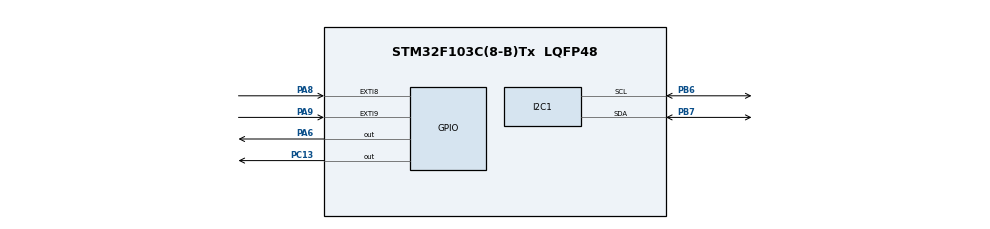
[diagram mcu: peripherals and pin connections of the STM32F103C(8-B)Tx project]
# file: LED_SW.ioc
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Mcu.Family=STM32F1
Mcu.Name=STM32F103C(8-B)Tx
Mcu.Package=LQFP48
NVIC.EXTI9_5_IRQn=true\:0\:0\:false\:false\:true\:true\:true\:true
NVIC.PriorityGroup=NVIC_PRIORITYGROUP_4
PA13.Mode=Serial_Wire
PA13.Signal=SYS_JTMS-SWDIO
PA14.Mode=Serial_Wire
PA14.Signal=SYS_JTCK-SWCLK
PA6.Signal=GPIO_Output
PA8.GPIO_ModeDefaultEXTI=GPIO_MODE_IT_FALLING
PA8.GPIO_PuPd=GPIO_PULLUP
PA8.Signal=GPXTI8
PA9.GPIO_ModeDefaultEXTI=GPIO_MODE_IT_FALLING
PA9.GPIO_PuPd=GPIO_PULLUP
PA9.Signal=GPXTI9
PB6.Mode=I2C
PB6.Signal=I2C1_SCL
PB7.Mode=I2C
PB7.Signal=I2C1_SDA
PC13-TAMPER-RTC.Signal=GPIO_Output
PD0-OSC_IN.Mode=HSE-External-Oscillator
PD0-OSC_IN.Signal=RCC_OSC_IN
PD1-OSC_OUT.Mode=HSE-External-Oscillator
PD1-OSC_OUT.Signal=RCC_OSC_OUT
ProjectManager.HeapSize=0x200
ProjectManager.StackSize=0x400
ProjectManager.TargetToolchain=MDK-ARM V5
RCC.APB1Freq_Value=8000000
RCC.APB2Freq_Value=8000000
RCC.SYSCLKSource=RCC_SYSCLKSOURCE_HSE
board=custom

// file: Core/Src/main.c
#include "main.h"

/* USER CODE BEGIN Includes */
#include "CLCD_I2C.h"
#include "MPU6050.h"
#include <stdio.h>

I2C_HandleTypeDef hi2c1;   //

/* USER CODE BEGIN PV */
CLCD_I2C_Name LCD1;
uint32_t volatile state = 0, resetCounter = 0;
extern uint32_t volatile delayLED;
extern unsigned int stepCount;
/* USER CODE END PV */

void SystemClock_Config(void);
static void MX_GPIO_Init(void);
static void MX_I2C1_Init(void);

/* USER CODE BEGIN 0 */
void EXTI9_5_IRQHandler(void)
{

  /* USER CODE END EXTI9_5_IRQn 0 */
  HAL_GPIO_EXTI_IRQHandler(GPIO_PIN_8);
  HAL_GPIO_EXTI_IRQHandler(GPIO_PIN_9);
  /* USER CODE BEGIN EXTI9_5_IRQn 1 */
	if((GPIOA->IDR & (1u<<8)) == 0) {
		state++;

		for(int i = 0; i < 500000; i++);
		HAL_NVIC_ClearPendingIRQ(EXTI9_5_IRQn);
	}

	if((GPIOA->IDR & (1u<<9)) == 0) {
		resetCounter = 1;
		stepCount = 0;

		for(int i = 0; i < 500000; i++);
		HAL_NVIC_ClearPendingIRQ(EXTI9_5_IRQn);
	}

}
/* USER CODE END 0 */

int main(void)
{
  /* USER CODE BEGIN 1 */
  SysTick->LOAD = SystemCoreClock / 1000;
	SysTick->CTRL = 0x7;
  /* USER CODE END 1 */

  /* MCU Configuration--------------------------------------------------------*/

  /* Reset of all peripherals, Initializes the Flash interface and the Systick. */
  HAL_Init();

  /* Configure the system clock */
  SystemClock_Config();

  /* Initialize all configured peripherals */
  MX_GPIO_Init();
  MX_I2C1_Init();
  /* USER CODE BEGIN 2 */
	MPU6050_Init();
	CLCD_I2C_Init(&LCD1,&hi2c1,0x4E,16,2);
	char buf[4];
  /* USER CODE END 2 */

  /* Infinite loop */
  /* USER CODE BEGIN WHILE */
  while (1)
  {
		// kiem tra yeu cau resetCounter
		if(resetCounter == 1) {
			resetCounter = 0;

			CLCD_I2C_Clear(&LCD1);							// xoa man hinh
			CLCD_I2C_SetCursor(&LCD1,1,0);			// dat con tro LCD tai hang 1 cot 0
		  CLCD_I2C_WriteString(&LCD1, "So buoc chan");	// ghi chuoi "so buoc chan"
			CLCD_I2C_SetCursor(&LCD1,5,1);								//dat con tro LCD tai hang 2 cot 5
		  CLCD_I2C_WriteString(&LCD1, "0");							//Ghi chuoi
		}

		if(state % 2 == 0) {
				HAL_GPIO_WritePin(GPIOA, GPIO_PIN_6, GPIO_PIN_RESET); // tat led chan GPIO_PIN_6
			if(delayLED >=1000) {					// kiem tra delay
				delayLED = 0;
				HAL_GPIO_TogglePin(GPIOC,GPIO_PIN_13);		// nhap nhay den LED tren chan GPIOC_PIN_13
			}

			CLCD_I2C_SetCursor(&LCD1,1,0);
			CLCD_I2C_WriteString(&LCD1, "So buoc chan");

			sprintf(buf, "%d", MPU6050_Counter());   // chuyen doi gia tri MPU6050_Counter() thành chuõi buf
			CLCD_I2C_SetCursor(&LCD1,5,1);		//dat con tro LCD tai hang 2 cot 5
			CLCD_I2C_WriteString(&LCD1, buf);				// ghi gia tri cua chuoi len LCD

			HAL_Delay(50);
		} else {
			HAL_GPIO_WritePin(GPIOC,GPIO_PIN_13,GPIO_PIN_SET);			// bat LED trên chân
			HAL_GPIO_WritePin(GPIOA,GPIO_PIN_6,GPIO_PIN_SET);
		}
    /* USER CODE END WHILE */

  }
}

void SystemClock_Config(void)
{
  RCC_OscInitTypeDef RCC_OscInitStruct = {0};
  RCC_ClkInitTypeDef RCC_ClkInitStruct = {0};

  /** Initializes the RCC Oscillators according to the specified parameters
  * in the RCC_OscInitTypeDef structure.
  */
  RCC_OscInitStruct.OscillatorType = RCC_OSCILLATORTYPE_HSE;    //thiet lap loai dong ho CPU,
  RCC_OscInitStruct.HSEState = RCC_HSE_ON;											// S? d?ng HSE làm ngu?n SYSCLK
  RCC_OscInitStruct.PLL.PLLState = RCC_PLL_NONE;
  if (HAL_RCC_OscConfig(&RCC_OscInitStruct) != HAL_OK)					// cau hinh tan so dong ho
  {
    Error_Handler();
  }

  /** Initializes the CPU, AHB and APB buses clocks
  */
  RCC_ClkInitStruct.ClockType = RCC_CLOCKTYPE_HCLK|RCC_CLOCKTYPE_SYSCLK
                              |RCC_CLOCKTYPE_PCLK1|RCC_CLOCKTYPE_PCLK2;
  RCC_ClkInitStruct.SYSCLKSource = RCC_SYSCLKSOURCE_HSE;
  RCC_ClkInitStruct.AHBCLKDivider = RCC_SYSCLK_DIV1;
  RCC_ClkInitStruct.APB1CLKDivider = RCC_HCLK_DIV1;
  RCC_ClkInitStruct.APB2CLKDivider = RCC_HCLK_DIV1;

  if (HAL_RCC_ClockConfig(&RCC_ClkInitStruct, FLASH_LATENCY_0) != HAL_OK)
  {
    Error_Handler();
  }
}

static void MX_I2C1_Init(void)
{

  hi2c1.Instance = I2C1;								// chon I2c1
  hi2c1.Init.ClockSpeed = 100000;				// toc do truyen thong 100kHZ
  hi2c1.Init.DutyCycle = I2C_DUTYCYCLE_2; 				// Chu ky nhiem vu cua I2c là 2
  hi2c1.Init.OwnAddress1 = 0;											//dia chi rieng cua thiet bi off
  hi2c1.Init.AddressingMode = I2C_ADDRESSINGMODE_7BIT;	// su dung che do dia chi 7_bit
  hi2c1.Init.DualAddressMode = I2C_DUALADDRESS_DISABLE;	// vo hieu hoa che do dia chi kep
  hi2c1.Init.OwnAddress2 = 0;						// dia chi rieng cua rieng biet
  hi2c1.Init.GeneralCallMode = I2C_GENERALCALL_DISABLE;
  hi2c1.Init.NoStretchMode = I2C_NOSTRETCH_DISABLE;			// Vo hieu che do khong keo dai
  if (HAL_I2C_Init(&hi2c1) != HAL_OK)				// khoi tao I2c1
  {
    Error_Handler();
  }

}

static void MX_GPIO_Init(void)
{
  GPIO_InitTypeDef GPIO_InitStruct = {0};

  /* GPIO Ports Clock Enable */
  __HAL_RCC_GPIOC_CLK_ENABLE();
  __HAL_RCC_GPIOD_CLK_ENABLE();
  __HAL_RCC_GPIOA_CLK_ENABLE();
  __HAL_RCC_GPIOB_CLK_ENABLE();

  /*Configure GPIO pin Output Level */
  HAL_GPIO_WritePin(GPIOC, GPIO_PIN_13, GPIO_PIN_RESET);

  /*Configure GPIO pin Output Level */
  HAL_GPIO_WritePin(GPIOA, GPIO_PIN_6, GPIO_PIN_RESET);

  /*Configure GPIO pin : PC13 */
  GPIO_InitStruct.Pin = GPIO_PIN_13;
  GPIO_InitStruct.Mode = GPIO_MODE_OUTPUT_PP;
  GPIO_InitStruct.Pull = GPIO_NOPULL;
  GPIO_InitStruct.Speed = GPIO_SPEED_FREQ_LOW;
  HAL_GPIO_Init(GPIOC, &GPIO_InitStruct);

  /*Configure GPIO pin : PA6 */
  GPIO_InitStruct.Pin = GPIO_PIN_6;
  GPIO_InitStruct.Mode = GPIO_MODE_OUTPUT_PP;
  GPIO_InitStruct.Pull = GPIO_NOPULL;
  GPIO_InitStruct.Speed = GPIO_SPEED_FREQ_LOW;
  HAL_GPIO_Init(GPIOA, &GPIO_InitStruct);

  /*Configure GPIO pins : PA8 PA9 */
  GPIO_InitStruct.Pin = GPIO_PIN_8|GPIO_PIN_9;
  GPIO_InitStruct.Mode = GPIO_MODE_IT_FALLING;
  GPIO_InitStruct.Pull = GPIO_PULLUP;
  HAL_GPIO_Init(GPIOA, &GPIO_InitStruct);

  /* EXTI interrupt init*/
  HAL_NVIC_SetPriority(EXTI9_5_IRQn, 0, 0);
  HAL_NVIC_EnableIRQ(EXTI9_5_IRQn);

}

void Error_Handler(void)
{
  __disable_irq();
  while (1)
  {
  }
}
